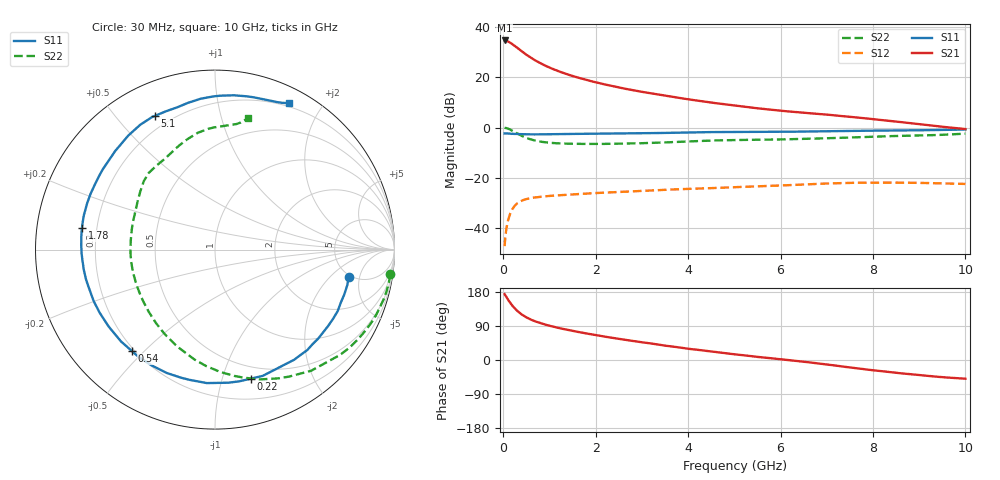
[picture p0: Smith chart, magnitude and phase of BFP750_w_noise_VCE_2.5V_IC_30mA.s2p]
! Infineon Technologies  Discrete & RF Semiconductors
! BFP750
! VCE =  2.5 V,  IC =  30 mA
! Common Emitter S-Parameters:  Jan 2016
# GHz  S  MA  R  50
!  f  S11  S21  S12  S22
! GHz  MAG  ANG  MAG  ANG  MAG  ANG  MAG  ANG
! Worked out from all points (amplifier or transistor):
!   229 points, 30 MHz to 10 GHz, reference 50 ohm
!   highest |S21| = 34.7 dB at 30 MHz (marker M1)
!   |S21| within 3 dB of that: start of sweep to 307.7 MHz
!   unconditionally stable (mu >= 1): 4.507 GHz to end of sweep
!   at 280 MHz: K = 0.13, MSG = 31.4 dB, |S12| = -30.7 dB
!   at 1.78 GHz: K = 0.60, MSG = 22.7 dB, |S12| = -26.4 dB
!   at 10 GHz: K = 1.07, MAG = 9.3 dB, |S12| = -22.5 dB
!   lowest NFmin = 0.84 dB at 450 MHz
!   S11 on the Smith chart (normalised r, x): 30 MHz: 4.83, -3.46; 220 MHz: 0.38, -1.25; 540 MHz: 0.19, -0.46; 1.78 GHz: 0.14, +0.08; 5.1 GHz: 0.14, +0.64; 10 GHz: 0.16, +1.61
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0.03  0.7613 -11.4  54.53 173.8  0.0043 84.1  0.9869 -8.0
0.05  0.7624 -19.2  54.49 169.3  0.0071 81.9  0.9838 -13.7
0.08  0.7625 -30.5  53.45 163.9  0.011 75.5  0.9686 -22.0
0.12  0.7571 -44.3  51.23 156.2  0.0159 69.1  0.9388 -32.5
0.155  0.753 -55.8  49.1 150.2  0.0196 63.8  0.9049 -41.1
0.2  0.7521 -69.3  45.99 142.9  0.0238 57.6  0.8616 -51.6
0.22  0.7463 -74.3  44.52 140.3  0.0253 55.2  0.8383 -55.6
0.3  0.7451 -93.5  39.12 130.0  0.0305 47.0  0.7634 -71.4
0.36  0.7384 -104.8  35.35 123.9  0.0332 42.2  0.7118 -81.3
0.45  0.7354 -118.8  30.6 116.1  0.0362 36.5  0.6506 -94.4
0.54  0.7306 -129.4  26.8 110.4  0.038 32.4  0.6024 -104.9
0.7  0.7313 -144.2  21.61 101.6  0.0405 27.2  0.5475 -120.9
0.96  0.7335 -160.2  16.33 91.7  0.0429 22.5  0.5013 -139.3
1.3  0.7405 -174.7  12.26 81.8  0.0451 19.2  0.4786 -156.3
1.7  0.7499 172.9  9.427 72.3  0.0475 16.9  0.4718 -170.4
1.78  0.7512 170.8  8.996 70.5  0.048 16.5  0.4712 -172.7
2.6  0.761 152.0  6.026 53.9  0.0524 13.1  0.4772 166.3
3.4  0.7776 137.1  4.469 39.9  0.0569 9.6  0.4998 151.2
5.1  0.8169 114.2  2.68 13.9  0.065 2.2  0.5651 129.7
6.8  0.8386 97.3  1.871 -8.8  0.0751 -7.4  0.6035 111.3
8.4  0.8723 78.2  1.344 -32.4  0.0798 -21.2  0.6741 93.1
10  0.9133 63.3  0.933 -49.4  0.075 -31.9  0.7554 75.8
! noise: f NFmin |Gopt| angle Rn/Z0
0.45  0.84  0.12  -165  0.43
0.9  0.86  0.17  -162  0.16
1.5  0.87  0.18  -161  0.13
1.9  0.88  0.22  -155  0.08
2.4  0.91  0.26  -148  0.08
3.5  1.14  0.3  -134  0.08
